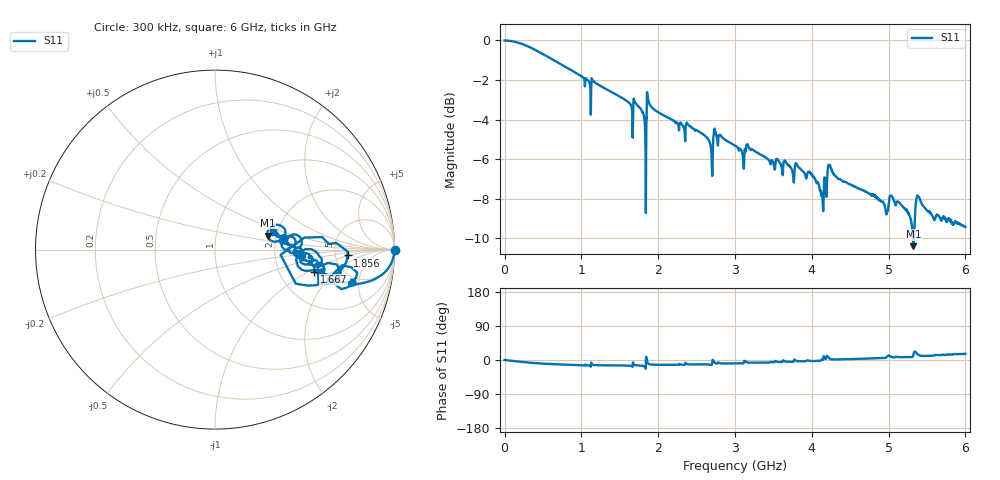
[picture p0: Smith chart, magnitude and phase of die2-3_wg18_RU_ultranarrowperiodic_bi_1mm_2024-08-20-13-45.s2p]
!Keysight Technologies,P9374A,MY57304198,A.17.20.09
!Date: Tuesday, August 20, 2024 13:45:38
!Correction: S11(C  1-Port  )
!S21(C  1-Port  )
!S12(Off)
!S22(Off)
!S2P File: Measurements: S11, S21, S12, S22:
# Hz S  dB  R 50
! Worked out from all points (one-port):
!   6000 points, 300 kHz to 6 GHz, reference 50 ohm
!   lowest |S11| = -10.4 dB at 5.324 GHz (marker M1), VSWR 1.87, Z = 89.7 + j15.2 ohm
!   |S11| at or under -10 dB: 5.314867 GHz to 5.331036 GHz (16.17 MHz wide, 0.304 % of centre)
!   S11 on the Smith chart (normalised r, x): 300 kHz: open; 1.667 GHz: 3.16, -1.16; 1.856 GHz: 6.58, -0.95; 6 GHz: 1.90, +0.41
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300000  0.00 -0.0  -200.00 45.0  -200.00 45.0  -200.00 45.0
4.323504e8  -0.55 -8.7  -200.00 45.0  -200.00 45.0  -200.00 45.0
1.000417e9  -1.80 -13.7  -200.00 45.0  -200.00 45.0  -200.00 45.0
1.667495e9  -4.91 -12.7  -200.00 45.0  -200.00 45.0  -200.00 45.0
1.705499e9  -3.17 -13.7  -200.00 45.0  -200.00 45.0  -200.00 45.0
1.807511e9  -3.71 -15.8  -200.00 45.0  -200.00 45.0  -200.00 45.0
1.855516e9  -2.60 -2.5  -200.00 45.0  -200.00 45.0  -200.00 45.0
1.880519e9  -3.14 -10.8  -200.00 45.0  -200.00 45.0  -200.00 45.0
2.000533e9  -3.62 -12.7  -200.00 45.0  -200.00 45.0  -200.00 45.0
2.584602e9  -4.74 -11.5  -200.00 45.0  -200.00 45.0  -200.00 45.0
2.683613e9  -5.33 -12.4  -200.00 45.0  -200.00 45.0  -200.00 45.0
2.74362e9  -4.61 -8.4  -200.00 45.0  -200.00 45.0  -200.00 45.0
3.00065e9  -5.31 -8.9  -200.00 45.0  -200.00 45.0  -200.00 45.0
4.000767e9  -6.80 -2.7  -200.00 45.0  -200.00 45.0  -200.00 45.0
4.126781e9  -7.84 0.7  -200.00 45.0  -200.00 45.0  -200.00 45.0
4.182788e9  -7.52 3.1  -200.00 45.0  -200.00 45.0  -200.00 45.0
4.238795e9  -6.33 3.1  -200.00 45.0  -200.00 45.0  -200.00 45.0
5.000883e9  -8.28 11.8  -200.00 45.0  -200.00 45.0  -200.00 45.0
5.285917e9  -8.98 7.7  -200.00 45.0  -200.00 45.0  -200.00 45.0
5.323921e9  -10.39 14.7  -200.00 45.0  -200.00 45.0  -200.00 45.0
5.387929e9  -7.90 13.7  -200.00 45.0  -200.00 45.0  -200.00 45.0
6e9  -9.41 16.4  -200.00 45.0  -200.00 45.0  -200.00 45.0
